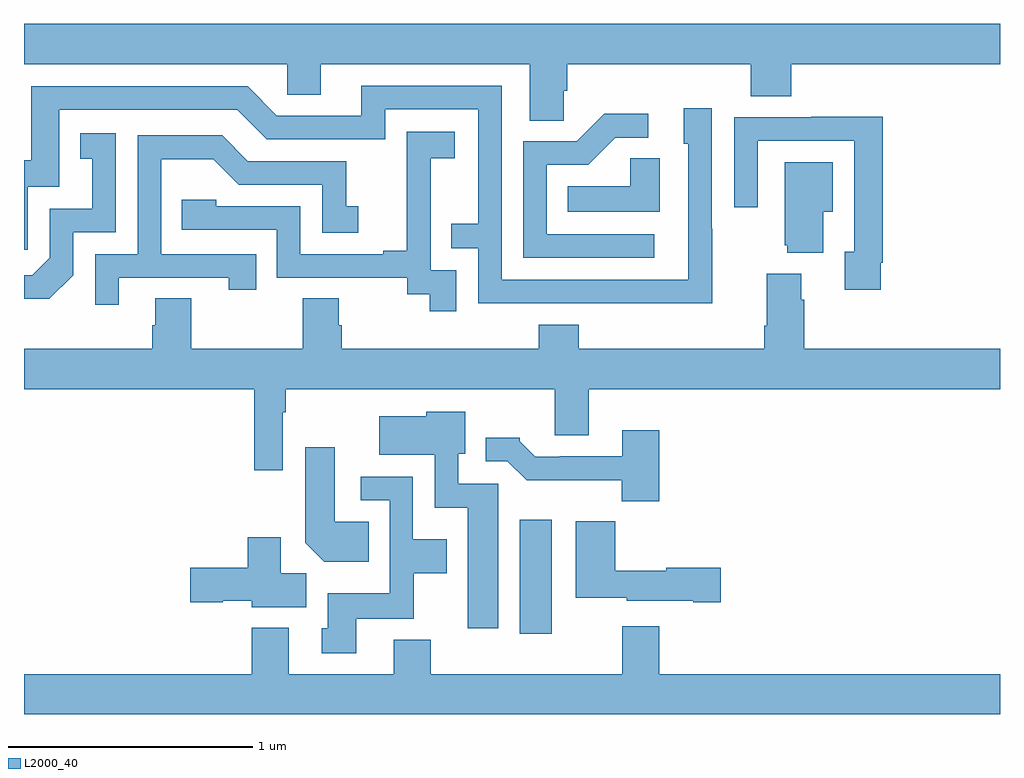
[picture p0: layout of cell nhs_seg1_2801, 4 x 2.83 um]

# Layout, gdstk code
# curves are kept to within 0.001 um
import gdstk
lib = gdstk.Library(unit=1e-6, precision=1e-09)
def R(c, l, rs):  # rectangles x0, y0, x1, y1
    for r in rs: c.add(gdstk.rectangle(r[:2], r[2:], *l))
def P(c, l, *ps):  # polygons
    for p in ps: c.add(gdstk.Polygon(p, *l))
L2000_40 = (2000, 40)

nhs_seg1_2801 = lib.new_cell('nhs_seg1_2801')
R(nhs_seg1_2801, L2000_40, [(265.031,526.752,265.162,527.221)])
P(nhs_seg1_2801, L2000_40, [(265.212,528.979),(265.226,528.979),(265.226,529.088),(265.979,529.088),(265.979,528.955),(266.144,528.955),(266.144,529.088),(267,529.088),(267,529.252),(263,529.252),(263,529.088),(264.078,529.088),(264.078,528.961),(264.217,528.961),(264.217,529.088),(265.073,529.088),(265.073,528.856),(265.212,528.856)],
  [(265.821,528.413),(265.818,528.413),(265.818,528.907),(265.703,528.907),(265.703,528.762),(265.722,528.762),(265.722,528.204),(264.957,528.204),(264.957,528.999),(264.383,528.999),(264.383,528.876),(264.036,528.876),(263.916,528.996),(263.029,528.996),(263.029,528.694),(263,528.694),(263,528.327),(263.016,528.327),(263.016,528.585),(263.145,528.585),(263.145,528.9),(263.874,528.9),(263.994,528.78),(264.48,528.78),(264.48,528.903),(264.861,528.903),(264.861,528.434),(264.751,528.434),(264.751,528.333),(264.861,528.333),(264.861,528.108),(265.821,528.107)],
  [(265.582,528.39),(265.143,528.39),(265.143,528.675),(265.312,528.675),(265.423,528.786),(265.558,528.786),(265.558,528.884),(265.379,528.884),(265.266,528.771),(265.047,528.771),(265.047,528.294),(265.582,528.294)],
  [(266.512,528.274),(266.519,528.274),(266.519,528.872),(266.227,528.872),(266.227,528.87),(265.911,528.87),(265.911,528.501),(266.007,528.501),(266.007,528.774),(266.403,528.774),(266.403,528.318),(266.363,528.318),(266.363,528.162),(266.512,528.162)],
  [(264.771,528.243),(264.666,528.243),(264.666,528.473),(264.668,528.473),(264.668,528.701),(264.766,528.701),(264.766,528.811),(264.568,528.811),(264.568,528.605),(264.569,528.605),(264.569,528.322),(264.473,528.322),(264.473,528.309),(264.132,528.309),(264.132,528.504),(263.787,528.504),(263.787,528.531),(263.647,528.531),(263.647,528.408),(264.036,528.408),(264.036,528.213),(264.57,528.213),(264.57,528.145),(264.663,528.145),(264.663,528.075),(264.771,528.075)],
  [(263.202,528.222),(263.202,528.399),(263.376,528.399),(263.376,528.805),(263.23,528.805),(263.23,528.699),(263.279,528.699),(263.279,528.495),(263.106,528.495),(263.106,528.294),(263.034,528.222),(263,528.222),(263,528.125),(263.104,528.125)],
  [(263.389,528.213),(263.84,528.213),(263.84,528.162),(263.951,528.162),(263.951,528.309),(263.562,528.309),(263.562,528.698),(263.776,528.698),(263.88,528.594),(264.222,528.594),(264.222,528.396),(264.37,528.396),(264.37,528.505),(264.321,528.505),(264.321,528.69),(263.917,528.69),(263.812,528.795),(263.466,528.795),(263.466,528.309),(263.292,528.309),(263.292,528.102),(263.389,528.102)],
  [(265.606,528.701),(265.485,528.701),(265.485,528.586),(265.228,528.586),(265.228,528.482),(265.606,528.482)],
  [(266.275,528.482),(266.314,528.482),(266.314,528.685),(266.117,528.685),(266.117,528.345),(266.129,528.345),(266.129,528.314),(266.275,528.314)],
  [(265.274,528.019),(265.109,528.019),(265.109,527.92),(264.302,527.92),(264.302,528.018),(264.289,528.018),(264.289,528.128),(264.142,528.128),(264.142,527.92),(263.685,527.92),(263.685,528.128),(263.537,528.128),(263.537,528.018),(263.525,528.018),(263.525,527.92),(263,527.92),(263,527.756),(263.944,527.756),(263.944,527.424),(264.06,527.424),(264.06,527.66),(264.073,527.66),(264.073,527.756),(265.175,527.756),(265.175,527.566),(265.315,527.566),(265.315,527.756),(267,527.756),(267,527.92),(266.198,527.92),(266.198,528.122),(266.185,528.122),(266.185,528.229),(266.045,528.229),(266.045,528.016),(266.033,528.016),(266.033,527.92),(265.274,527.92)],
  [(264.943,527.367),(264.78,527.367),(264.78,527.49),(264.808,527.49),(264.808,527.662),(264.648,527.662),(264.648,527.644),(264.456,527.644),(264.456,527.486),(264.684,527.486),(264.684,527.27),(264.818,527.27),(264.818,526.776),(264.943,526.776)],
  [(265.604,527.587),(265.451,527.587),(265.451,527.481),(265.195,527.481),(265.195,527.478),(265.096,527.478),(265.032,527.542),(265.032,527.557),(264.893,527.557),(264.893,527.46),(264.981,527.46),(265.06,527.382),(265.449,527.382),(265.449,527.297),(265.604,527.297)],
  [(264.413,527.212),(264.274,527.212),(264.274,527.518),(264.152,527.518),(264.152,527.126),(264.23,527.048),(264.413,527.048)],
  [(264.361,526.814),(264.597,526.814),(264.597,527),(264.733,527),(264.733,527.14),(264.594,527.14),(264.594,527.397),(264.381,527.397),(264.381,527.301),(264.498,527.301),(264.498,526.918),(264.245,526.918),(264.245,526.776),(264.221,526.776),(264.221,526.674),(264.361,526.674)],
  [(265.855,527.024),(265.632,527.024),(265.632,527.011),(265.424,527.011),(265.424,527.215),(265.262,527.215),(265.262,526.901),(265.47,526.901),(265.47,526.889),(265.742,526.889),(265.742,526.882),(265.855,526.882)],
  [(264.157,527),(264.052,527),(264.052,527.149),(263.918,527.149),(263.918,527.024),(263.682,527.024),(263.682,526.882),(263.814,526.882),(263.814,526.889),(263.934,526.889),(263.934,526.862),(264.157,526.862)],
  [(267,526.588),(265.604,526.588),(265.604,526.783),(265.451,526.783),(265.451,526.588),(264.668,526.588),(264.668,526.729),(264.515,526.729),(264.515,526.588),(264.085,526.588),(264.085,526.777),(263.933,526.777),(263.933,526.588),(263,526.588),(263,526.424),(267,526.424)])

lib.write_gds('nhs_seg1_2801.gds')
